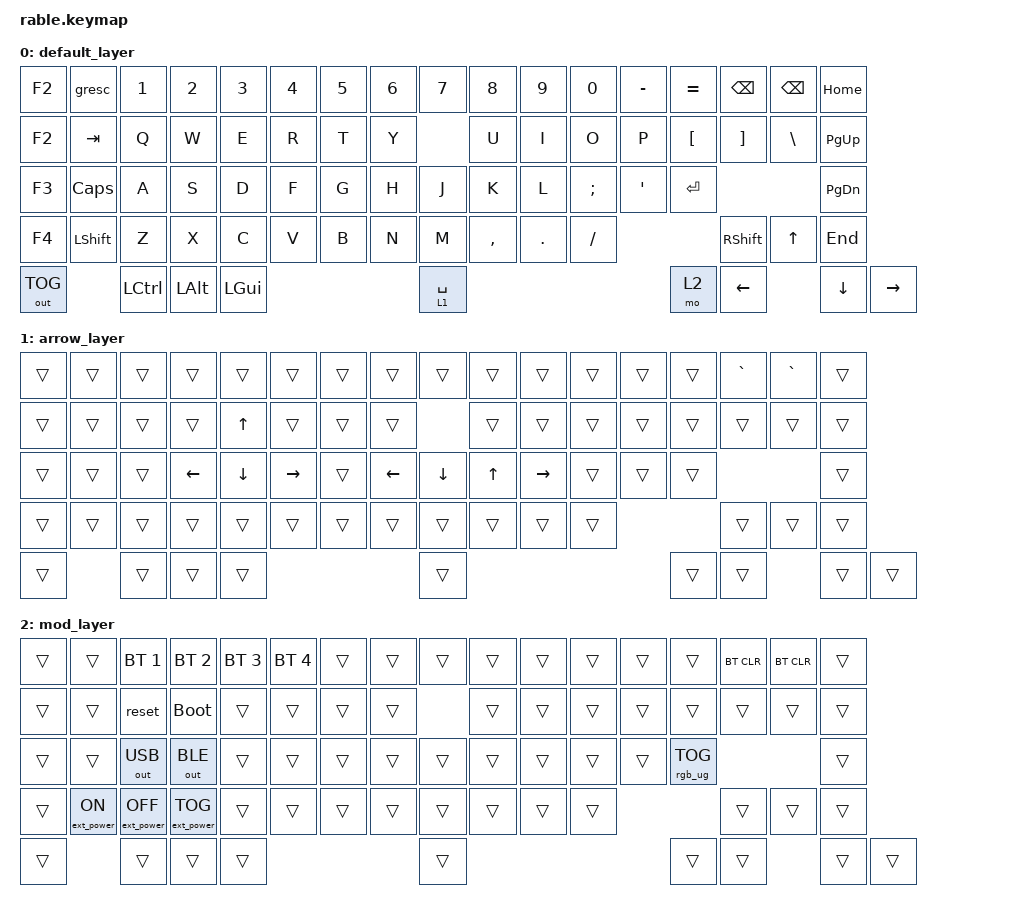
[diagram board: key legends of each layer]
/*
 * Copyright (c) 2021 Nick Winans
 *
 * SPDX-License-Identifier: MIT
 */

#include <behaviors.dtsi>
#include <dt-bindings/zmk/keys.h>
#include <dt-bindings/zmk/rgb.h>
#include <dt-bindings/zmk/bt.h>
#include <dt-bindings/zmk/outputs.h>
#include <dt-bindings/zmk/ext_power.h>

/ {
  keymap {
    compatible = "zmk,keymap";
    
    default_layer {
        // ----------------------------------------------------------------------------------------------------------
        // | F1  | ESC |  1  |  2  |  3  |  4  |  5  |  6  |  7  |  8  |  9  |  0  |  -  |  =  |   BKSP   | HOME    |
        // | F2  | TAB  |  Q  |  W  |  E  |  R  |  T  |  Y  |  U  |  I  |  O  |  P  |  [  |  ]  |   "|"   | PG UP   |
        // | F3  | CAPS  |  A  |  S  | D  |  F  |  G  |  H  |  J  |  K  |  L  |  ;  |  '  |     ENTER     | PG DOWN |
        // | F4  |  SHIFT  |  Z  |  X  |  C  |  V  |  B  |  N  |  M  |  ,  |  .  |  /  |   SHIFT  |  UP   | END     |
        // | F5  |  CTL  |  ALT  |  WIN  |                SPACE MO(1)          |  MO(1)  |  LEFT  |  DOWN | RIGHT   |
        // ----------------------------------------------------------------------------------------------------------
      bindings = <
        &kp F2  &gresc     &kp N1   &kp N2   &kp N3   &kp N4   &kp N5   &kp N6   &kp N7   &kp N8     &kp N9   &kp N0    &kp MINUS  &kp EQUAL  &kp BSPC  &kp BSPC  &kp HOME
        &kp F2  &kp TAB    &kp Q    &kp W    &kp E    &kp R    &kp T    &kp Y    &kp U    &kp I      &kp O    &kp P     &kp LBKT   &kp RBKT       &kp BSLH        &kp PG_UP
        &kp F3  &kp CLCK   &kp A    &kp S  &kp D    &kp F    &kp G    &kp H    &kp J    &kp K      &kp L    &kp SEMI  &kp SQT           &kp RET                   &kp PG_DN
        &kp F4  &kp LSHFT  &kp Z    &kp X    &kp C    &kp V    &kp B    &kp N    &kp M    &kp COMMA  &kp DOT  &kp FSLH                      &kp RSHFT   &kp UP    &kp END
        &out OUT_TOG  &kp LCTRL  &kp LALT &kp LGUI                                  &lt 1 SPACE                                        &mo 2    &kp LEFT      &kp DOWN  &kp RIGHT
      >;
    };

    arrow_layer {
        // ----------------------------------------------------------------------------------------------------------------
        // |        |    |     |     |     |     |     |     |     |     |     |     |     |     |     |   `~    |
        // |        |    |     |     |     |     |     |     |     |     |     |     |     |     |     |         |
        // |        |    |     |     |     |     |     |LEFT |DOWN |  UP |RIGHT|     |     |     |     |         |
        // |        |    |     |     |     |     |     |     |     |     |     |     |     |     |     |         |
        // |        |    |     |     |                                               |     |     |     |         |
        // ----------------------------------------------------------------------------------------------------------------
      bindings = <
        &trans    &trans    &trans   &trans    &trans   &trans    &trans   &trans    &trans   &trans    &trans   &trans    &trans   &trans    &kp GRAVE   &kp GRAVE        &trans    
        &trans   &trans   &trans   &trans    &kp UP   &trans    &trans   &trans    &trans   &trans    &trans   &trans    &trans   &trans         &trans       &trans 
        &trans   &trans  &trans   &kp LEFT   &kp DOWN   &kp RIGHT  &trans   &kp LEFT  &kp DOWN &kp UP   &kp RIGHT &trans    &trans            &trans               &trans  
        &trans  &trans   &trans   &trans    &trans   &trans    &trans   &trans    &trans   &trans    &trans   &trans                       &trans   &trans     &trans   
        &trans  &trans   &trans   &trans                                   &trans                                                   &trans    &trans   &trans    &trans
      >;
    };
    
    mod_layer {
        // ----------------------------------------------------------------------------------------------------------------
        // |        |    | BT 1|BT 2 |BT 3 |BT 4 |     |     |     |     |     |     |     |     |BT CLR |         |
        // |        |    | RST | BOOT|     |     |     |     |     |     |     |     |     |     |       |         |
        // |        |    | USB | BLE |     |     |     |     |     |     |     |     |     |     |RGB TOG|         |
        // |        |    |EP_ON|EP_OFF|EP_TOG|     |     |     |     |     |     |     |     |     |       |         |
        // |        |    |     |     |                                               |     |     |       |         |
        // ----------------------------------------------------------------------------------------------------------------
      bindings = <
        &trans   &trans &bt BT_SEL 1  &bt BT_SEL 2   &bt BT_SEL 3  &bt BT_SEL 4   &trans   &trans    &trans   &trans    &trans   &trans    &trans   &trans   &bt BT_CLR   &bt BT_CLR     &trans     
        &trans  &trans  &reset     &bootloader   &trans    &trans    &trans   &trans   &trans   &trans   &trans   &trans   &trans   &trans   &trans   &trans 
        &trans  &trans  &out OUT_USB   &out OUT_BLE    &trans   &trans    &trans   &trans    &trans   &trans    &trans   &trans    &trans            &rgb_ug RGB_TOG            &trans  
        &trans  &ext_power EP_ON   &ext_power EP_OFF   &ext_power EP_TOG    &trans   &trans    &trans   &trans    &trans   &trans    &trans   &trans                       &trans   &trans           &trans   
        &trans  &trans   &trans   &trans                                   &trans                                                 &trans     &trans   &trans  &trans
      >;
    };
    
  };
};
